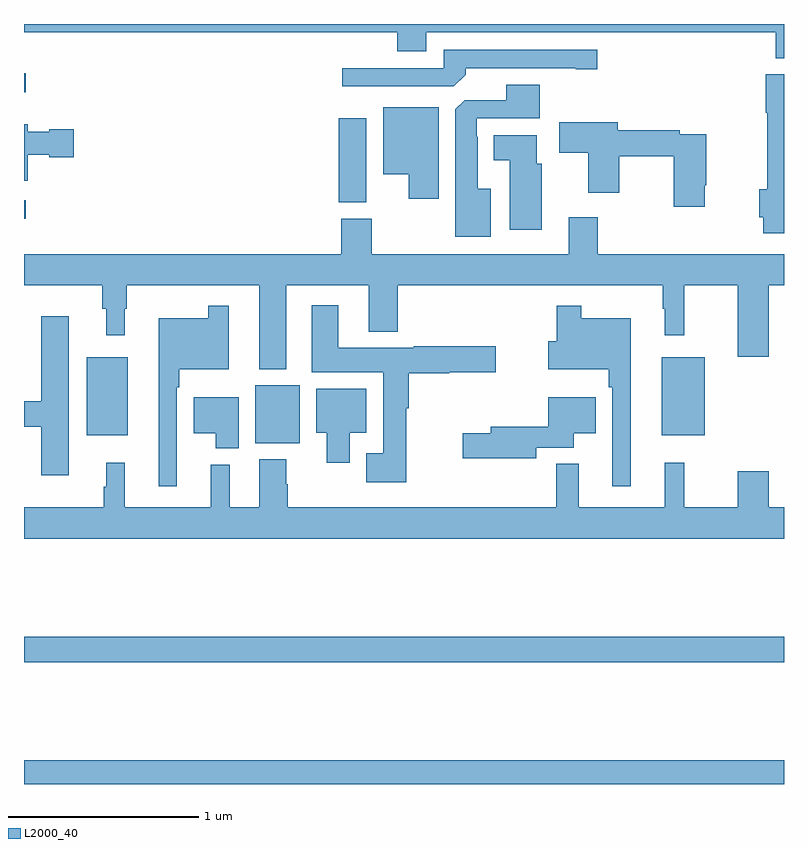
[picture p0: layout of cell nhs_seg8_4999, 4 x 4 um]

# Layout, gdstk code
import gdstk
lib = gdstk.Library(unit=1e-6, precision=1e-09)
def R(c, l, rs):  # rectangles x0, y0, x1, y1
    for r in rs: c.add(gdstk.rectangle(r[:2], r[2:], *l))
def P(c, l, *ps):  # polygons
    for p in ps: c.add(gdstk.Polygon(p, *l))
L2000_40 = (2000, 40)

nhs_seg8_4999 = lib.new_cell('nhs_seg8_4999')
R(nhs_seg8_4999, L2000_40, [(413,1089.9,417,1090.024), (413,1090.54,417,1090.676), (414.218,1091.693,414.451,1091.998), (413.33,1091.735,413.545,1092.145), (416.357,1091.735,416.584,1092.145), (413,1092.875,413.008,1092.972), (414.656,1092.961,414.802,1093.405), (413,1093.541,413.008,1093.64)])
P(nhs_seg8_4999, L2000_40, [(413,1093.856),(414.965,1093.856),(414.965,1093.757),(415.117,1093.757),(415.117,1093.856),(416.957,1093.856),(416.957,1093.72),(417,1093.72),(417,1093.9),(413,1093.9)],
  [(415.325,1093.634),(415.325,1093.668),(415.904,1093.668),(415.904,1093.663),(416.017,1093.663),(416.017,1093.764),(415.209,1093.764),(415.209,1093.668),(414.675,1093.668),(414.675,1093.572),(415.263,1093.572)],
  [(417,1093.635),(416.905,1093.635),(416.905,1093.432),(416.913,1093.432),(416.913,1093.031),(416.87,1093.031),(416.87,1092.882),(416.892,1092.882),(416.892,1092.8),(417,1092.8)],
  [(415.456,1093.033),(415.387,1093.033),(415.387,1093.307),(415.383,1093.307),(415.383,1093.404),(415.714,1093.404),(415.714,1093.579),(415.538,1093.579),(415.538,1093.5),(415.32,1093.5),(415.271,1093.451),(415.271,1092.779),(415.456,1092.779)],
  [(415.183,1093.462),(414.89,1093.462),(414.89,1093.109),(415.025,1093.109),(415.025,1092.981),(415.183,1092.981)],
  [(416.584,1093.051),(416.592,1093.051),(416.592,1093.32),(416.45,1093.32),(416.45,1093.34),(416.125,1093.34),(416.125,1093.384),(415.818,1093.384),(415.818,1093.222),(415.97,1093.222),(415.97,1093.011),(416.133,1093.011),(416.133,1093.204),(416.419,1093.204),(416.419,1092.939),(416.584,1092.939)],
  [(413.02,1093.211),(413.133,1093.211),(413.133,1093.199),(413.263,1093.199),(413.263,1093.346),(413.133,1093.346),(413.133,1093.333),(413.02,1093.333),(413.02,1093.372),(413,1093.372),(413,1093.076),(413.02,1093.076)],
  [(415.726,1093.164),(415.699,1093.164),(415.699,1093.315),(415.472,1093.315),(415.472,1093.184),(415.556,1093.184),(415.556,1092.816),(415.726,1092.816)],
  [(414.379,1092.524),(414.815,1092.524),(414.815,1092.281),(414.968,1092.281),(414.968,1092.524),(416.361,1092.524),(416.361,1092.401),(416.372,1092.401),(416.372,1092.261),(416.474,1092.261),(416.474,1092.524),(416.756,1092.524),(416.756,1092.15),(416.92,1092.15),(416.92,1092.524),(417,1092.524),(417,1092.688),(416.021,1092.688),(416.021,1092.883),(415.868,1092.883),(415.868,1092.688),(414.831,1092.688),(414.831,1092.876),(414.671,1092.876),(414.671,1092.688),(413,1092.688),(413,1092.524),(413.413,1092.524),(413.413,1092.401),(413.432,1092.401),(413.432,1092.261),(413.53,1092.261),(413.53,1092.401),(413.542,1092.401),(413.542,1092.524),(414.239,1092.524),(414.239,1092.083),(414.379,1092.083)],
  [(415.012,1091.878),(415.025,1091.878),(415.025,1092.062),(415.239,1092.062),(415.239,1092.067),(415.483,1092.067),(415.483,1092.204),(415.051,1092.204),(415.051,1092.196),(414.655,1092.196),(414.655,1092.421),(414.515,1092.421),(414.515,1092.068),(414.89,1092.068),(414.89,1091.641),(414.8,1091.641),(414.8,1091.489),(415.012,1091.489)],
  [(416.194,1092.352),(415.933,1092.352),(415.933,1092.418),(415.804,1092.418),(415.804,1092.231),(415.76,1092.231),(415.76,1092.083),(416.077,1092.083),(416.077,1091.987),(416.097,1091.987),(416.097,1091.466),(416.194,1091.466)],
  [(413.805,1091.987),(413.818,1091.987),(413.818,1092.083),(414.078,1092.083),(414.078,1092.418),(413.97,1092.418),(413.97,1092.352),(413.708,1092.352),(413.708,1091.466),(413.805,1091.466)],
  [(413.236,1092.361),(413.09,1092.361),(413.09,1091.915),(413,1091.915),(413,1091.78),(413.09,1091.78),(413.09,1091.526),(413.236,1091.526)],
  [(414.715,1091.75),(414.802,1091.75),(414.802,1091.98),(414.539,1091.98),(414.539,1091.75),(414.593,1091.75),(414.593,1091.592),(414.715,1091.592)],
  [(414.13,1091.935),(413.894,1091.935),(413.894,1091.747),(414.008,1091.747),(414.008,1091.666),(414.13,1091.666)],
  [(415.696,1091.67),(415.894,1091.67),(415.894,1091.747),(416.008,1091.747),(416.008,1091.935),(415.76,1091.935),(415.76,1091.779),(415.457,1091.779),(415.457,1091.745),(415.308,1091.745),(415.308,1091.615),(415.696,1091.615)],
  [(417,1091.356),(416.92,1091.356),(416.92,1091.545),(416.756,1091.545),(416.756,1091.356),(416.474,1091.356),(416.474,1091.59),(416.372,1091.59),(416.372,1091.356),(415.919,1091.356),(415.919,1091.585),(415.801,1091.585),(415.801,1091.356),(414.387,1091.356),(414.387,1091.477),(414.379,1091.477),(414.379,1091.608),(414.239,1091.608),(414.239,1091.356),(414.082,1091.356),(414.082,1091.581),(413.984,1091.581),(413.984,1091.356),(413.531,1091.356),(413.531,1091.59),(413.432,1091.59),(413.432,1091.465),(413.421,1091.465),(413.421,1091.356),(413,1091.356),(413,1091.192),(417,1091.192)])

lib.write_gds('nhs_seg8_4999.gds')
